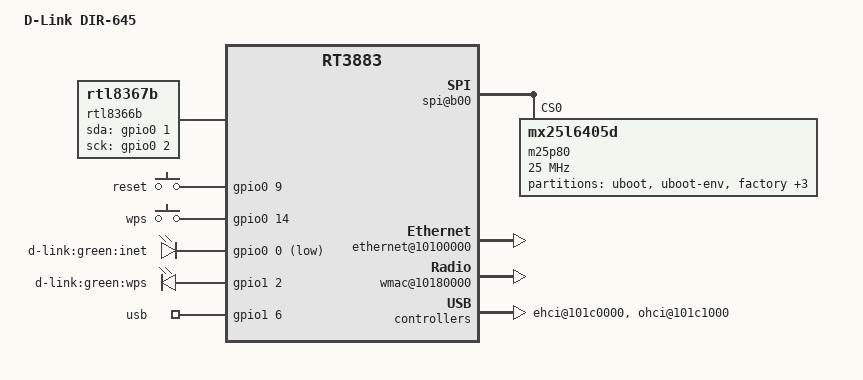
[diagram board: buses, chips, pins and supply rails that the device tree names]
/dts-v1/;

/include/ "rt3883.dtsi"

/ {
	#address-cells = <1>;
	#size-cells = <1>;
	compatible = "DIR-645", "ralink,rt3883-soc";
	model = "D-Link DIR-645";

	memorydetect {
		ralink,memory = <0x0 0x200000 0x10000000>;
	};

	palmbus@10000000 {
		sysc@0 {
			ralink,pinmmux = "uartlite", "spi";
			ralink,gpiomux = "i2c", "jtag";
			ralink,uartmux = "gpio";
			ralink,wdtmux = <1>;
		};

		timer@100 {
			status = "okay";
		};

		gpio0: gpio@600 {
			status = "okay";
		};

		gpio1: gpio@638 {
			status = "okay";
		};

		spi@b00 {
			status = "okay";

			m25p80@0 {
				#address-cells = <1>;
				#size-cells = <1>;
				compatible = "mx25l6405d";
				reg = <0 0>;
				linux,modalias = "m25p80";
				spi-max-frequency = <25000000>;
				partition@0 {
					label = "uboot";
					reg = <0x0 0x30000>;
					read-only;
				};
				partition@30000 {
					label = "uboot-env";
					reg = <0x30000 0x4000>;
					read-only;
				};
				factory: partition@34000 {
					label = "factory";
					reg = <0x34000 0x4000>;
					read-only;
				};
				partition@38000 {
					label = "nvram";
					reg = <0x38000 0x8000>;
					read-only;
				};
				partition@40000 {
					label = "devdata";
					reg = <0x40000 0x10000>;
				};
				partition@50000 {
					label = "firmware";
					reg = <0x50000 0x7b0000>;
				};
			};
		};
	};

	ethernet@10100000 {
		status = "okay";

		mtd-mac-address = <&factory 0x28>;
		ralink,fixed-link = <1000 1 1 1>;
	};

	wmac@10180000 {
		status = "okay";
		ralink,5ghz = <0>;
	};

	ehci@101c0000 {
		status = "okay";
	};

	ohci@101c1000 {
		status = "okay";
	};

	rtl8366b {
		compatible = "rtl8367b";
		gpio-sda = <&gpio0 1 0>;
		gpio-sck = <&gpio0 2 0>;
		realtek,extif1 = <1 0 1 1 1 1 1 1 2>;
	};

	gpio-keys-polled {
		compatible = "gpio-keys-polled";
		#address-cells = <1>;
		#size-cells = <0>;
		poll-interval = <100>;
		reset {
			label = "reset";
			gpios = <&gpio0 9 0>;
			linux,code = <0x198>;
		};
		wps {
			label = "wps";
			gpios = <&gpio0 14 0>;
			linux,code = <0x211>;
		};
	};

	gpio-leds {
		compatible = "gpio-leds";
		
		inet {
			label = "d-link:green:inet";
			gpios = <&gpio0 0 1>;
		};
		wps {
			label = "d-link:green:wps";
			gpios = <&gpio1 2 0>;
		};
	};

	gpio_export {
		compatible = "gpio-export";
		#size-cells = <0>;

		usb {
			gpio-export,name = "usb";
			gpio-export,output = <1>;
			gpios = <&gpio1 6 0>;
		};
	};
};
